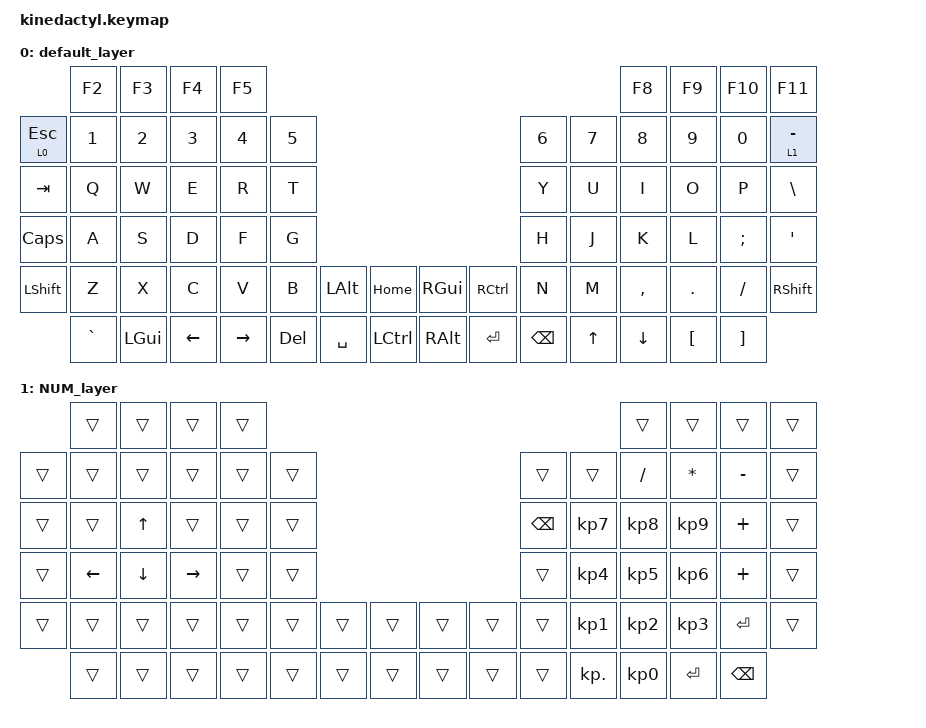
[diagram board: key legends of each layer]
#include <behaviors.dtsi>
#include <dt-bindings/zmk/bt.h>
#include <dt-bindings/zmk/keys.h>

#define DEFAULT 0
#define NUM     1

/ {
    combos {
        compatible = "zmk,combos";

        bt_clear {
            bindings = <&bt BT_CLR>;
            key-positions = <50 0>;
        };

        bt_previous {
            bindings = <&bt BT_PRV>;
            key-positions = <50 2>;
        };

        bt_next {
            bindings = <&bt BT_NXT>;
            key-positions = <3 50>;
        };
    };

    keymap {
        compatible = "zmk,keymap";

        default_layer {
            bindings = <
           &kp F2     &kp F3    &kp F4          &kp F5                                                                                       &kp F8     &kp F9            &kp F10            &kp F11
&lt 0 ESC  &kp N1     &kp N2    &kp N3          &kp N4     &kp N5                                                     &kp N6         &kp N7  &kp N8     &kp N9            &kp N0             &lt 1 MINUS
&kp TAB    &kp Q      &kp W     &kp E           &kp R      &kp T                                                      &kp Y          &kp U   &kp I      &kp O             &kp P              &kp BSLH
&kp CAPS   &kp A      &kp S     &kp D           &kp F      &kp G                                                      &kp H          &kp J   &kp K      &kp L             &kp SEMI           &kp SQT
&kp LSHFT  &kp Z      &kp X     &kp C           &kp V      &kp B    &kp LALT   &kp HOME          &kp RGUI  &kp RCTRL  &kp N          &kp M   &kp COMMA  &kp DOT           &kp FSLH           &kp RSHIFT
           &kp GRAVE  &kp LGUI  &kp LEFT_ARROW  &kp RIGHT  &kp DEL  &kp SPACE  &kp LEFT_CONTROL  &kp RALT  &kp ENTER  &kp BACKSPACE  &kp UP  &kp DOWN   &kp LEFT_BRACKET  &kp RIGHT_BRACKET
            >;
        };

        NUM_layer {
            bindings = <
        &trans    &trans    &trans     &trans                                                                &trans     &trans        &trans     &trans
&trans  &trans    &trans    &trans     &trans  &trans                                  &trans    &trans      &kp SLASH  &kp ASTERISK  &kp MINUS  &trans
&trans  &trans    &kp UP    &trans     &trans  &trans                                  &kp BSPC  &kp KP_N7   &kp KP_N8  &kp KP_N9     &kp PLUS   &trans
&trans  &kp LEFT  &kp DOWN  &kp RIGHT  &trans  &trans                                  &trans    &kp KP_N4   &kp KP_N5  &kp KP_N6     &kp PLUS   &trans
&trans  &trans    &trans    &trans     &trans  &trans  &trans  &trans  &trans  &trans  &trans    &kp KP_N1   &kp KP_N2  &kp KP_N3     &kp RET    &trans
        &trans    &trans    &trans     &trans  &trans  &trans  &trans  &trans  &trans  &trans    &kp KP_DOT  &kp KP_N0  &kp RET       &kp BSPC
            >;
        };
    };
};
